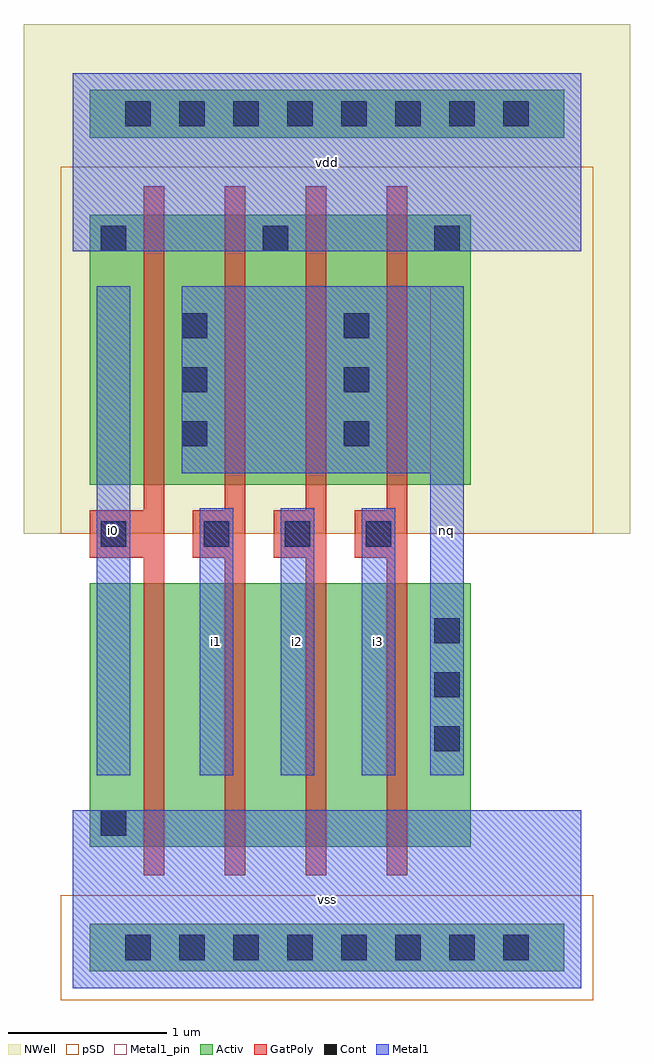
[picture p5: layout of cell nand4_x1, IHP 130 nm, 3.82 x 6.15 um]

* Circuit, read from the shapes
.subckt nand4_x1 i0 i1 i2 i3 nq vdd vss
XM1 n1 i0 vss vss sg13_lv_nmos w=1.66u l=0.13u
XM2 n2 i1 n1 vss sg13_lv_nmos w=1.66u l=0.13u
XM3 n3 i2 n2 vss sg13_lv_nmos w=1.66u l=0.13u
XM4 nq i3 n3 vss sg13_lv_nmos w=1.66u l=0.13u
XM5 nq i0 vdd vdd sg13_lv_pmos w=1.7u l=0.13u
XM6 vdd i1 nq vdd sg13_lv_pmos w=1.7u l=0.13u
XM7 nq i2 vdd vdd sg13_lv_pmos w=1.7u l=0.13u
XM8 vdd i3 nq vdd sg13_lv_pmos w=1.7u l=0.13u
.ends

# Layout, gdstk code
import gdstk
lib = gdstk.Library(unit=1e-6, precision=1e-09)
def R(c, l, rs):  # rectangles x0, y0, x1, y1
    for r in rs: c.add(gdstk.rectangle(r[:2], r[2:], *l))
def A(c, l, x, y, w, h, nx, ny, dx, dy):  # array of equal rectangles
    R(c, l, [(x+i*dx, y+j*dy, x+i*dx+w, y+j*dy+h) for i in range(nx) for j in range(ny)])
def P(c, l, *ps):  # polygons
    for p in ps: c.add(gdstk.Polygon(p, *l))
Activ = (1, 0)
GatPoly = (5, 0)
Cont = (6, 0)
Metal1 = (8, 0)
Metal1_pin = (8, 2)
pSD = (14, 0)
NWell = (31, 0)

nand4_x1 = lib.new_cell('nand4_x1')
R(nand4_x1, Activ, [(0.105,0.105,3.095,0.405), (0.105,0.89,2.505,2.55), (0.105,3.17,2.505,4.87), (0.105,5.355,3.095,5.655)])
P(nand4_x1, GatPoly, [(0.445,0.71),(0.445,2.71),(0.105,2.71),(0.105,3.01),(0.445,3.01),(0.445,5.05),(0.575,5.05),(0.575,0.71)],
  [(0.955,0.71),(0.955,2.71),(0.755,2.71),(0.755,3.01),(0.955,3.01),(0.955,5.05),(1.085,5.05),(1.085,0.71)],
  [(1.465,0.71),(1.465,2.71),(1.265,2.71),(1.265,3.01),(1.465,3.01),(1.465,5.05),(1.595,5.05),(1.595,0.71)],
  [(1.975,0.71),(1.975,2.71),(1.775,2.71),(1.775,3.01),(1.975,3.01),(1.975,5.05),(2.105,5.05),(2.105,0.71)])
A(nand4_x1, Cont, 0.33, 0.175, 0.16, 0.16, 8, 2, 0.34, 5.25)
A(nand4_x1, Cont, 2.275, 1.49, 0.16, 0.16, 1, 3, 0, 0.34)
A(nand4_x1, Cont, 0.825, 2.78, 0.16, 0.16, 3, 1, 0.51, 0)
A(nand4_x1, Cont, 0.685, 3.41, 0.16, 0.16, 1, 3, 0, 0.34)
A(nand4_x1, Cont, 1.705, 3.41, 0.16, 0.16, 1, 3, 0, 0.34)
R(nand4_x1, Cont, [(0.175,0.96,0.335,1.12), (0.175,2.78,0.335,2.94), (0.175,4.64,0.335,4.8), (1.195,4.64,1.355,4.8), (2.275,4.64,2.435,4.8)])
A(nand4_x1, Metal1, 0.8, 1.34, 0.21, 1.68, 3, 1, 0.51, 0)
R(nand4_x1, Metal1, [(0,0,3.2,1.12), (0.15,1.34,0.36,4.42), (0,4.64,3.2,5.76)])
P(nand4_x1, Metal1, [(2.25,1.34),(2.25,3.24),(0.685,3.24),(0.685,4.42),(2.46,4.42),(2.46,1.34)])
A(nand4_x1, Metal1_pin, 0.8, 1.34, 0.21, 1.68, 3, 1, 0.51, 0)
R(nand4_x1, Metal1_pin, [(0,0,3.2,1.12), (0.15,1.34,0.36,4.42), (2.25,1.34,2.46,4.42), (0,4.64,3.2,5.76)])
R(nand4_x1, pSD, [(-0.075,-0.075,3.275,0.585), (-0.075,2.86,3.275,5.17)])
R(nand4_x1, NWell, [(-0.31,2.86,3.51,6.07)])
nand4_x1.add(gdstk.Label('vss', (1.6,0.56), layer=8, texttype=2))
nand4_x1.add(gdstk.Label('vdd', (1.6,5.2), layer=8, texttype=2))
nand4_x1.add(gdstk.Label('i0', (0.255,2.88), layer=8, texttype=2))
nand4_x1.add(gdstk.Label('nq', (2.355,2.88), layer=8, texttype=2))
nand4_x1.add(gdstk.Label('i1', (0.905,2.18), layer=8, texttype=2))
nand4_x1.add(gdstk.Label('i2', (1.415,2.18), layer=8, texttype=2))
nand4_x1.add(gdstk.Label('i3', (1.925,2.18), layer=8, texttype=2))

lib.write_gds('nand4_x1.gds')
